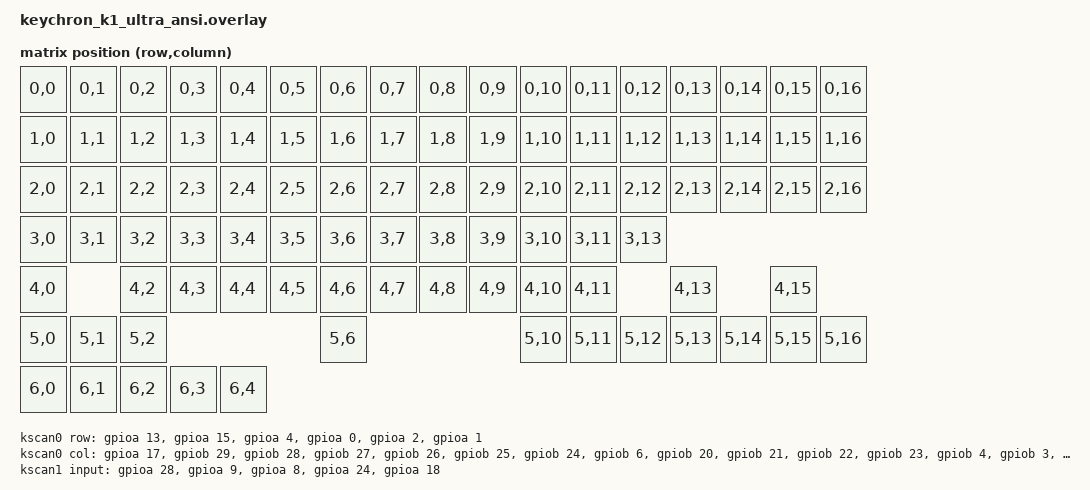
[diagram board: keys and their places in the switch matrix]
#include <dt-bindings/zmk/matrix_transform.h>
#include <dt-bindings/led/led.h>
#include <zephyr/dt-bindings/gpio/realtek-rtl87x2g-gpio.h>
#include "led_strip_k1_ultra.dtsi"

&gpioa {
    status = "okay";
};
&gpiob {
    status = "okay";
};
&usb {
    status = "okay";
};
// &timer2 {
//     status = "okay";
//     prescaler = <1>;
//     pwm2: pwm2 {
//         status = "disabled";// "okay";
//         pinctrl-0 = <&pwm2_default>;
//         pinctrl-names = "default";
//     };
// };
// &timer3 {
//     status = "okay";
//     prescaler = <1>;
//     pwm3: pwm3 {
//         status =  "disabled";//"okay";
//         pinctrl-0 = <&pwm3_default>;
//         pinctrl-names = "default";
//     };
// };

// &timer4 {
//     status = "okay";
//     prescaler = <1>;
//     pwm4: pwm4 {
//         // status =  "okay";
//         status =  "disabled";
//         pinctrl-0 = <&pwm4_default>;
//         pinctrl-1 = <&pwm4_sleep>;
//         pinctrl-names = "default","sleep";
//     };
// };
&timer2 {
    status = "okay";
    prescaler = <1>;
};
&timer3 {
    status = "okay";
    prescaler = <1>;
};
&timer8 {
    status = "okay";
};

&timer9 {
    status = "okay";
};

&corewdt {
    status = "okay";
	// status = "okay";
    initial-timeout-ms = <5000>;
};
&aonwdt {
    status = "disabled";
    // status = "disabled";
    initial-timeout-ms = <5000>;
};
/ {
	aliases {
        watchdog = &corewdt;
		// watchdog = &corewdt;
	};
    
};

&adc {
    pinctrl-0 = <&adc_default>;
    pinctrl-1 = <&adc_sleep>;
    pinctrl-names = "default","sleep";
    #address-cells = <1>;
    #size-cells = <0>;
    status = "okay";
    is-bypass-mode= <0x04>;
    channel@2 {
        reg = <2>;
        zephyr,gain = "ADC_GAIN_1";
        zephyr,reference = "ADC_REF_INTERNAL";
        zephyr,acquisition-time = <ADC_ACQ_TIME_DEFAULT>;
        zephyr,resolution = <12>;
    };
};	
/ {

    chosen {
        // zmk,kscan = &kscan;
        zmk,kscan = &kscan_comp;
        zmk,matrix-transform = &default_transform;
        zmk,battery = &vbatt;
        //zmk,backlight = &backlight;
    };
    kscan_comp: kscan {
        compatible = "zmk,kscan-composite";
        rows = <7>;
        columns = <17>;
        // Include the matrix driver
        matrix {
            kscan = <&kscan0>;
            // kscan = <&kscan>;
        };
        // Include the direct GPIO driver...
        // make sure direct init first!
        direct {
            kscan = <&kscan1>;
            row-offset = <6>; // ...and shift it to not overlap
        };


        // status = "disabled";
    };
    kscan0: kscan_matrix {
        compatible = "zmk,kscan-gpio-matrix";

        diode-direction = "row2col";
        debounce-scan-period-ms =<1>;
        debounce-press-ms =<0>;
        debounce-release-ms=<50>;
 
        row-gpios
            = <&gpioa 13 (GPIO_ACTIVE_HIGH |GPIO_PULL_UP )>   //r0 P1_5
            , <&gpioa 15 (GPIO_ACTIVE_HIGH |GPIO_PULL_UP)>    //r1 P1_7
            , <&gpioa  4 (GPIO_ACTIVE_HIGH |GPIO_PULL_UP)>    //r2 P0_4
            , <&gpioa  0 (GPIO_ACTIVE_HIGH |GPIO_PULL_UP)>    //r3 P0_0
            , <&gpioa  2 (GPIO_ACTIVE_HIGH |GPIO_PULL_UP)>    //r4 P0_2
            , <&gpioa  1 (GPIO_ACTIVE_HIGH |GPIO_PULL_UP)>    //r5 P0_1
            ;
        col-gpios
            =  
              <&gpioa 17  (GPIO_ACTIVE_HIGH|GPIO_PULL_DOWN)>  //c0 32K_XI
            , <&gpiob 29  (GPIO_ACTIVE_HIGH|GPIO_PULL_DOWN)>  //c1 P10_0
            , <&gpiob 28  (GPIO_ACTIVE_HIGH|GPIO_PULL_DOWN)>  //c2 P9_7
            , <&gpiob 27  (GPIO_ACTIVE_HIGH|GPIO_PULL_DOWN)>  //c3 P9_6
            , <&gpiob 26  (GPIO_ACTIVE_HIGH|GPIO_PULL_DOWN)>  //c4 P9_5
            , <&gpiob 25  (GPIO_ACTIVE_HIGH|GPIO_PULL_DOWN)>  //c5 P9_4
            , <&gpiob 24  (GPIO_ACTIVE_HIGH|GPIO_PULL_DOWN)>  //c6 P9_3
            , <&gpiob  6  (GPIO_ACTIVE_HIGH|GPIO_PULL_DOWN)>  //c7 P4_1
            , <&gpiob 20  (GPIO_ACTIVE_HIGH|GPIO_PULL_DOWN)>  //c8 P6_1
            , <&gpiob 21  (GPIO_ACTIVE_HIGH|GPIO_PULL_DOWN)>  //c9 P6_2
            , <&gpiob 22  (GPIO_ACTIVE_HIGH|GPIO_PULL_DOWN)>  //c10 P6_3
            , <&gpiob 23  (GPIO_ACTIVE_HIGH|GPIO_PULL_DOWN)>  //c11 P6_4

            , <&gpiob 4  (GPIO_ACTIVE_HIGH|GPIO_PULL_DOWN)>  //c12 P3_7   
            , <&gpiob 3  (GPIO_ACTIVE_HIGH|GPIO_PULL_DOWN)>  //c13 P3_6      
            , <&gpiob 2  (GPIO_ACTIVE_HIGH|GPIO_PULL_DOWN)>  //c14 P3_5    
            , <&gpiob 1  (GPIO_ACTIVE_HIGH|GPIO_PULL_DOWN)>  //c15 P3_4   
            , <&gpiob 0  (GPIO_ACTIVE_HIGH|GPIO_PULL_DOWN)>  //c16 P3_3
            ;
        pinctrl-0 = <&gpio_default>;
        pinctrl-1 = <&gpio_sleep>;
        pinctrl-names = "default","sleep";

        // status ="disabled";
    };
    kscan1:kscan_direct {
        compatible = "zmk,kscan-gpio-direct";
        input-gpios 
        = <&gpioa 28  (GPIO_ACTIVE_HIGH )>  //mac/win   //P2_7 
        , <&gpioa  9  (GPIO_ACTIVE_LOW )>  //bt      //p1_1
        , <&gpioa  8  (GPIO_ACTIVE_LOW )>  //24g        //p1_0
                 
        , <&gpioa 24  (GPIO_ACTIVE_LOW )>  //usb det   //P2_3        
        , <&gpioa 18  (GPIO_ACTIVE_LOW )>    //charging  //32k_xo
        ;
        // toggle-mode;
        debounce-scan-period-ms=<20>;
        debounce-release-ms=<20>;
        pinctrl-0 = <&gpio_direct_default>;
        pinctrl-1 = <&gpio_direct_sleep>;
        pinctrl-names = "default","sleep";
    };
    // mode_monitor: mode_monitor {
    //     compatible = "zmk,mode-monitor-pin";
    //     ble-gpios = <&gpioa 9 (GPIO_ACTIVE_HIGH )>;
    //     ppt-gpios = <&gpioa 8 (GPIO_ACTIVE_HIGH )>;
    //     detect-usb-gpios = <&gpioa 24 (GPIO_ACTIVE_HIGH )>;
    //     win2mac-gpios = <&gpioa 31 (GPIO_ACTIVE_HIGH )>;
    // };
    vbatt: vbatt {
        compatible = "zmk,battery-voltage-divider";
        io-channels = <&adc 2>;
        output-ohms = <220000>;
        full-ohms = <(1000000 + 220000)>;
    };


    led_caps: led_caps{
        compatible = "gpio-leds";
        led1 {
            gpios = <&gpioa 27 GPIO_ACTIVE_HIGH>;  //p2_6
        };
        
    };
    led_ble: led_ble{
        compatible = "gpio-leds";
        led2 {
            gpios = <&gpioa 31 GPIO_ACTIVE_HIGH>;  //bt p3_2
          };
    };
    
    led_ppt:led_ppt {
        compatible = "gpio-leds";
        led3 {
            gpios = <&gpioa 10 GPIO_ACTIVE_HIGH>;  //ppt p1_2 
        };

    };  
    led_red:led_red {
        compatible = "gpio-leds";
        led4 {
            gpios = <&gpioa 16 GPIO_ACTIVE_HIGH>;  //charge MICBIAS  
        };

    };


    gpio_ctrls {
        compatible = "gpio-leds";
        // red_led: led_0 {
        //     gpios = <&gpioa 25 GPIO_ACTIVE_HIGH>;  //charge p2_4   
        // };
        // win_led: led_1 {
        //     gpios = <&gpioa 27 GPIO_ACTIVE_HIGH>;  //winlock p2_6 
        // };

        usb_det: usb_det {
            gpios =<&gpioa 24 GPIO_ACTIVE_LOW>; //usb det   //P2_3
        };

    };
    // lcd_ctrls{
    //     compatible = "gpio-leds";
    //     status ="okay";
    //     power:pwr_ctrl{
    //         gpios= <&gpioa 9 GPIO_ACTIVE_HIGH>;  //p1_1
    //     };
    //     reset:res_ctrl{
    //         gpios= <&gpioa 10 GPIO_ACTIVE_LOW>;  //p1_2
    //     };
    // };


	ppt: ppt {           
		compatible = "zmk,ppt-node";
		enh-timers = <&timer8 &timer9>;
		status = "okay";
	};   

    default_transform: matrix_transform {
        compatible = "zmk,matrix-transform";
        rows = <7>;
        columns = <17>;
        map = <
            //esc        //f1        //f2       //f3          //f4       //f5       //f6        //f7        //f8          //f9        //f10       //f11       //f12      //mute          //del       //scrlk     //calc     
            RC(0,0)     RC(0,1)     RC(0,2)     RC(0,3)    RC(0,4)     RC(0,5)     RC(0,6)      RC(0,7)     RC(0,8)     RC(0,9)    RC(0,10)      RC(0,11)    RC(0,12)    RC(0,13)       RC(0,14)    RC(0,15)    RC(0,16)  
             //grave      //1        //2         //3       //4         //5         //6         //7         //8         //9         //0           //-          //+=       //back                                 //pgup                         
            RC(1,0)     RC(1,1)     RC(1,2)     RC(1,3)    RC(1,4)     RC(1,5)     RC(1,6)     RC(1,7)     RC(1,8)     RC(1,9)     RC(1,10)     RC(1,11)     RC(1,12)    RC(1,13)       RC(1,14)   RC(1,15)     RC(1,16)    
            RC(2,0)     RC(2,1)     RC(2,2)     RC(2,3)    RC(2,4)     RC(2,5)     RC(2,6)     RC(2,7)     RC(2,8)     RC(2,9)     RC(2,10)     RC(2,11)     RC(2,12)    RC(2,13)       RC(2,14)   RC(2,15)     RC(2,16)    
            //cap        //a         //s         //d        //f         //g         //h          //j        //k         //l         // ;         //' "       //'\'                                 
            RC(3,0)     RC(3,1)     RC(3,2)     RC(3,3)    RC(3,4)     RC(3,5)     RC(3,6)     RC(3,7)     RC(3,8)     RC(3,9)     RC(3,10)     RC(3,11)     RC(3,13)                    
             //lshit                 //z         //x         //c        //v         //b        //n         //m          //,<         //.>        // ?                     //rshit                   //up         
            RC(4,0)                 RC(4,2)     RC(4,3)    RC(4,4)     RC(4,5)     RC(4,6)     RC(4,7)     RC(4,8)     RC(4,9)     RC(4,10)     RC(4,11)                 RC(4,13)                   RC(4,15)      
            //lctrl     //win l      //alt l                                        //space                                         //alt r       //sys       //fn        //ctrl         //left       //down      //right                  
            RC(5,0)     RC(5,1)     RC(5,2)                                        RC(5,6)                                         RC(5, 10)    RC(5,11)      RC(5,12)    RC(5,13)       RC(5,14)     RC(5,15)     RC(5,16)                 
              //mac     //bt        //24g        //usb     //ch          
            RC(6,0)     RC(6,1)     RC(6,2)     RC(6,3)    RC(6,4)   
        >;
    };


    sensors: sensors {
        compatible = "zmk,keymap-sensors";
        status = "okay";
        sensors = <&aon_qdec>;
        triggers-per-rotation = <10>;
    };
 };

&kscan {
    pinctrl-0 = <&kscan_default>;
    pinctrl-1 = <&kscan_sleep>;
    pinctrl-names = "default", "sleep";
    row-size = <6>;
    col-size = <16>;
    debounce-time-us = <0>;
    scan-time-us =  <0>;
    release-time-us = <10000>;
    scan-debounce-cnt = <1>;
    status = "disabled";
    // status = "okay";
};

&pinctrl {
    adc_default: adc_default {
        group1 {
             psels = <RTL87X2G_PSEL(SW_MODE, P2_2, DIR_IN, DRV_LOW, PULL_NONE)>;
        };
    };

    adc_sleep: adc_sleep {
        group1 {
             psels = <RTL87X2G_PSEL(SW_MODE, P2_2, DIR_IN, DRV_LOW, PULL_DOWN)>;
        };
    };
    kscan_default: kscan_default {
        group1 {
            psels = 
            <RTL87X2G_PSEL(KEY_COL_0, P9_3, DIR_OUT, DRV_LOW, PULL_NONE)>,
            <RTL87X2G_PSEL(KEY_COL_1, P9_4, DIR_OUT, DRV_LOW, PULL_NONE)>,
			<RTL87X2G_PSEL(KEY_COL_2, P9_5, DIR_OUT, DRV_LOW, PULL_NONE)>,
			<RTL87X2G_PSEL(KEY_COL_3, P9_6, DIR_OUT, DRV_LOW, PULL_NONE)>,
			<RTL87X2G_PSEL(KEY_COL_4, P9_7, DIR_OUT, DRV_LOW, PULL_NONE)>,
			<RTL87X2G_PSEL(KEY_COL_5, P10_0, DIR_OUT, DRV_LOW, PULL_NONE)>,
			<RTL87X2G_PSEL(KEY_COL_6, P3_7, DIR_OUT, DRV_LOW, PULL_NONE)>,
			<RTL87X2G_PSEL(KEY_COL_7, P3_6, DIR_OUT, DRV_LOW, PULL_NONE)>,
			<RTL87X2G_PSEL(KEY_COL_8, P3_5, DIR_OUT, DRV_LOW, PULL_NONE)>,
			<RTL87X2G_PSEL(KEY_COL_9, P3_4, DIR_OUT, DRV_LOW, PULL_NONE)>,
			<RTL87X2G_PSEL(KEY_COL_10, P3_3, DIR_OUT, DRV_LOW, PULL_NONE)>,
			<RTL87X2G_PSEL(KEY_COL_11, P4_1, DIR_OUT, DRV_LOW, PULL_NONE)>,
			<RTL87X2G_PSEL(KEY_COL_12, P6_4, DIR_OUT, DRV_LOW, PULL_NONE)>,
			<RTL87X2G_PSEL(KEY_COL_13, P6_3, DIR_OUT, DRV_LOW, PULL_NONE)>,
			<RTL87X2G_PSEL(KEY_COL_14, P6_2, DIR_OUT, DRV_LOW, PULL_NONE)>,
			<RTL87X2G_PSEL(KEY_COL_15, P6_1, DIR_OUT, DRV_LOW, PULL_NONE)>;

        };
        group2 {
            psels =							
            <RTL87X2G_PSEL(KEY_ROW_0, P1_5, DIR_IN, DRV_LOW, PULL_UP)>,
            <RTL87X2G_PSEL(KEY_ROW_1, P1_7, DIR_IN, DRV_LOW, PULL_UP)>,
            <RTL87X2G_PSEL(KEY_ROW_2, P0_0, DIR_IN, DRV_LOW, PULL_UP)>,
            <RTL87X2G_PSEL(KEY_ROW_3, P0_1, DIR_IN, DRV_LOW, PULL_UP)>,			
            <RTL87X2G_PSEL(KEY_ROW_4, P0_2, DIR_IN, DRV_LOW, PULL_UP)>,
            <RTL87X2G_PSEL(KEY_ROW_5, P0_4, DIR_IN, DRV_LOW, PULL_UP)>;
 
            bias-pull-strong;
        };

	};
    kscan_sleep: kscan_sleep {
        group1 {
            psels =
            <RTL87X2G_PSEL(SW_MODE, P9_3, DIR_OUT, DRV_LOW, PULL_DOWN)>,
            <RTL87X2G_PSEL(SW_MODE, P9_4, DIR_OUT, DRV_LOW, PULL_DOWN)>,
            <RTL87X2G_PSEL(SW_MODE, P9_5, DIR_OUT, DRV_LOW, PULL_DOWN)>,
            <RTL87X2G_PSEL(SW_MODE, P9_6, DIR_OUT, DRV_LOW, PULL_DOWN)>,
            <RTL87X2G_PSEL(SW_MODE, P9_7, DIR_OUT, DRV_LOW, PULL_DOWN)>,
            <RTL87X2G_PSEL(SW_MODE, P10_0, DIR_OUT, DRV_LOW, PULL_DOWN)>,
            <RTL87X2G_PSEL(SW_MODE, P3_7, DIR_OUT, DRV_LOW, PULL_DOWN)>,
            <RTL87X2G_PSEL(SW_MODE, P3_6, DIR_OUT, DRV_LOW, PULL_DOWN)>,
            <RTL87X2G_PSEL(SW_MODE, P3_5, DIR_OUT, DRV_LOW, PULL_DOWN)>,
            <RTL87X2G_PSEL(SW_MODE, P3_4, DIR_OUT, DRV_LOW, PULL_DOWN)>,
            <RTL87X2G_PSEL(SW_MODE, P3_3, DIR_OUT, DRV_LOW, PULL_DOWN)>,
            <RTL87X2G_PSEL(SW_MODE, P4_1, DIR_OUT, DRV_LOW, PULL_DOWN)>,
            <RTL87X2G_PSEL(SW_MODE, P6_4, DIR_OUT, DRV_LOW, PULL_DOWN)>,
            <RTL87X2G_PSEL(SW_MODE, P6_3, DIR_OUT, DRV_LOW, PULL_DOWN)>,
            <RTL87X2G_PSEL(SW_MODE, P6_2, DIR_OUT, DRV_LOW, PULL_DOWN)>,
            <RTL87X2G_PSEL(SW_MODE, P6_1, DIR_OUT, DRV_LOW, PULL_DOWN)>;
  
        };
        group2 {
            psels =
            <RTL87X2G_PSEL(SW_MODE, P1_5, DIR_IN, DRV_HIGH, PULL_UP)>,
            <RTL87X2G_PSEL(SW_MODE, P1_7, DIR_IN, DRV_HIGH, PULL_UP)>,
            <RTL87X2G_PSEL(SW_MODE, P0_0, DIR_IN, DRV_HIGH, PULL_UP)>,
            <RTL87X2G_PSEL(SW_MODE, P0_1, DIR_IN, DRV_HIGH, PULL_UP)>,
            <RTL87X2G_PSEL(SW_MODE, P0_2, DIR_IN, DRV_HIGH, PULL_UP)>,
            <RTL87X2G_PSEL(SW_MODE, P0_4, DIR_IN, DRV_HIGH, PULL_UP)>;
        
            bias-pull-strong;
            wakeup-low;
        };
    };


    uart2_default: uart2_default {
        group1 {
            psels = <RTL87X2G_PSEL(UART2_TX, P3_0, DIR_OUT, DRV_HIGH, PULL_UP)>,
            <RTL87X2G_PSEL(UART2_RX, P3_1, DIR_IN, DRV_HIGH, PULL_UP)>;
        };
    };
    uart2_sleep: uart2_sleep {
        group1 {
            psels = <RTL87X2G_PSEL(SW_MODE, P3_0, DIR_IN, DRV_HIGH, PULL_UP)>,
            <RTL87X2G_PSEL(SW_MODE, P3_1, DIR_IN, DRV_HIGH, PULL_UP)>;
        };
    };
    gpio_default: gpio_default {
        group1 {
            psels = 
             <RTL87X2G_PSEL(DWGPIO, P1_5, DIR_OUT, DRV_HIGH, PULL_UP)>,
             <RTL87X2G_PSEL(DWGPIO, P1_7, DIR_OUT, DRV_HIGH, PULL_UP)>,
             <RTL87X2G_PSEL(DWGPIO, P0_4, DIR_OUT, DRV_HIGH, PULL_UP)>,
             <RTL87X2G_PSEL(DWGPIO, P0_0, DIR_OUT, DRV_HIGH, PULL_UP)>,
             <RTL87X2G_PSEL(DWGPIO, P0_2, DIR_OUT, DRV_HIGH, PULL_UP)>,
             <RTL87X2G_PSEL(DWGPIO, P0_1, DIR_OUT, DRV_HIGH, PULL_UP)>;
        };
        group2 {
            psels =
            <RTL87X2G_PSEL(DWGPIO, XI32K, DIR_IN, DRV_LOW, PULL_DOWN)>,
            <RTL87X2G_PSEL(DWGPIO, P10_0, DIR_IN, DRV_LOW, PULL_DOWN)>,
            <RTL87X2G_PSEL(DWGPIO, P9_7, DIR_IN, DRV_LOW, PULL_DOWN)>,
            <RTL87X2G_PSEL(DWGPIO, P9_6, DIR_IN, DRV_LOW, PULL_DOWN)>,
            <RTL87X2G_PSEL(DWGPIO, P9_5, DIR_IN, DRV_LOW, PULL_DOWN)>,
            <RTL87X2G_PSEL(DWGPIO, P9_4, DIR_IN, DRV_LOW, PULL_DOWN)>,
            <RTL87X2G_PSEL(DWGPIO, P9_3, DIR_IN, DRV_LOW, PULL_DOWN)>,
            <RTL87X2G_PSEL(DWGPIO, P4_1, DIR_IN, DRV_LOW, PULL_DOWN)>,
            <RTL87X2G_PSEL(DWGPIO, P6_1, DIR_IN, DRV_LOW, PULL_DOWN)>,

            <RTL87X2G_PSEL(DWGPIO, P6_2, DIR_IN, DRV_LOW, PULL_DOWN)>,
            <RTL87X2G_PSEL(DWGPIO, P6_3, DIR_IN, DRV_LOW, PULL_DOWN)>,
            <RTL87X2G_PSEL(DWGPIO, P6_4, DIR_IN, DRV_LOW, PULL_DOWN)>,
            <RTL87X2G_PSEL(DWGPIO, P3_7, DIR_IN, DRV_LOW, PULL_DOWN)>,
            <RTL87X2G_PSEL(DWGPIO, P3_6, DIR_IN, DRV_LOW, PULL_DOWN)>,
            <RTL87X2G_PSEL(DWGPIO, P3_5, DIR_IN, DRV_LOW, PULL_DOWN)>,
            <RTL87X2G_PSEL(DWGPIO, P3_4, DIR_IN, DRV_LOW, PULL_DOWN)>, 
            <RTL87X2G_PSEL(DWGPIO, P3_3, DIR_IN, DRV_LOW, PULL_DOWN)>;

            // <RTL87X2G_PSEL(DWGPIO, P3_2, DIR_IN, DRV_LOW, PULL_DOWN)>;
            // <RTL87X2G_PSEL(DWGPIO, XI32K, DIR_IN, DRV_LOW, PULL_DOWN)>,
            // <RTL87X2G_PSEL(DWGPIO, MICBIAS, DIR_IN, DRV_LOW, PULL_DOWN)>;
        };

    };
    gpio_sleep: gpio_sleep {
        group1 {
            psels = 
             <RTL87X2G_PSEL(SW_MODE, P1_5, DIR_OUT, DRV_HIGH, PULL_UP)>,
             <RTL87X2G_PSEL(SW_MODE, P1_7, DIR_OUT, DRV_HIGH, PULL_UP)>,
             <RTL87X2G_PSEL(SW_MODE, P0_4, DIR_OUT, DRV_HIGH, PULL_UP)>,
             <RTL87X2G_PSEL(SW_MODE, P0_0, DIR_OUT, DRV_HIGH, PULL_UP)>,
             <RTL87X2G_PSEL(SW_MODE, P0_2, DIR_OUT, DRV_HIGH, PULL_UP)>,
             <RTL87X2G_PSEL(SW_MODE, P0_1, DIR_OUT, DRV_HIGH, PULL_UP)>;
        };
        group2 {
            psels =
             <RTL87X2G_PSEL(SW_MODE, XI32K, DIR_IN, DRV_LOW, PULL_DOWN)>, 
             <RTL87X2G_PSEL(SW_MODE, P10_0, DIR_IN, DRV_LOW, PULL_DOWN)>,
             <RTL87X2G_PSEL(SW_MODE, P9_7, DIR_IN, DRV_LOW, PULL_DOWN)>,
             <RTL87X2G_PSEL(SW_MODE, P9_6, DIR_IN, DRV_LOW, PULL_DOWN)>,
             <RTL87X2G_PSEL(SW_MODE, P9_5, DIR_IN, DRV_LOW, PULL_DOWN)>,
             <RTL87X2G_PSEL(SW_MODE, P9_4, DIR_IN, DRV_LOW, PULL_DOWN)>, 
             <RTL87X2G_PSEL(SW_MODE, P9_3, DIR_IN, DRV_LOW, PULL_DOWN)>,
             <RTL87X2G_PSEL(SW_MODE, P4_1, DIR_IN, DRV_LOW, PULL_DOWN)>,
             <RTL87X2G_PSEL(SW_MODE, P6_1, DIR_IN, DRV_LOW, PULL_DOWN)>,

             <RTL87X2G_PSEL(SW_MODE, P6_2, DIR_IN, DRV_LOW, PULL_DOWN)>,
             <RTL87X2G_PSEL(SW_MODE, P6_3, DIR_IN, DRV_LOW, PULL_DOWN)>,
             <RTL87X2G_PSEL(SW_MODE, P6_4, DIR_IN, DRV_LOW, PULL_DOWN)>,
             <RTL87X2G_PSEL(SW_MODE, P3_7, DIR_IN, DRV_LOW, PULL_DOWN)>,
             <RTL87X2G_PSEL(SW_MODE, P3_6, DIR_IN, DRV_LOW, PULL_DOWN)>,
             <RTL87X2G_PSEL(SW_MODE, P3_5, DIR_IN, DRV_LOW, PULL_DOWN)>,
             <RTL87X2G_PSEL(SW_MODE, P3_4, DIR_IN, DRV_LOW, PULL_DOWN)>, 
             <RTL87X2G_PSEL(SW_MODE, P3_3, DIR_IN, DRV_LOW, PULL_DOWN)>;

            //  <RTL87X2G_PSEL(SW_MODE, P3_2, DIR_IN, DRV_LOW, PULL_DOWN)>;
            //  <RTL87X2G_PSEL(SW_MODE, XI32K, DIR_IN, DRV_LOW, PULL_DOWN)>, 
            //  <RTL87X2G_PSEL(SW_MODE, MICBIAS, DIR_IN, DRV_LOW, PULL_DOWN)>; 
             wakeup-high;
        };

    };
    qdec_default: qdec_default {
        group1 {
            psels = <RTL87X2G_PSEL(QDPH0_IN_P9_0_P9_1, P9_0, DIR_IN, DRV_LOW, PULL_UP)>,
             <RTL87X2G_PSEL(QDPH0_IN_P9_0_P9_1, P9_1, DIR_IN, DRV_LOW, PULL_UP)>;
             wakeup-low;
        };
    };
    qdec_sleep: qdec_sleep {
        group1 {
            psels = <RTL87X2G_PSEL(SW_MODE, P9_0, DIR_IN, DRV_HIGH, PULL_NONE)>,
             <RTL87X2G_PSEL(SW_MODE, P9_1, DIR_IN, DRV_HIGH, PULL_NONE)>;

        };
    };
    gpio_direct_default:gpio_direct_default{
        group1 {
            psels = 
             <RTL87X2G_PSEL(DWGPIO, P2_7, DIR_IN, DRV_HIGH, PULL_NONE)>,
            <RTL87X2G_PSEL(DWGPIO, P1_1, DIR_IN, DRV_HIGH, PULL_NONE)>,
            <RTL87X2G_PSEL(DWGPIO, P1_0, DIR_IN, DRV_HIGH, PULL_NONE)>,                        
            <RTL87X2G_PSEL(DWGPIO, P2_3, DIR_IN, DRV_HIGH, PULL_NONE)>,
            <RTL87X2G_PSEL(DWGPIO, XO32K, DIR_IN, DRV_HIGH, PULL_UP)>;//charge pin leak current ,has to pull up！
        };
    };
    gpio_direct_sleep:gpio_direct_sleep{
        group1 {
            psels = 
             <RTL87X2G_PSEL(SW_MODE, P2_7, DIR_IN, DRV_HIGH, PULL_NONE)>,
            <RTL87X2G_PSEL(SW_MODE, P1_1, DIR_IN, DRV_HIGH, PULL_NONE)>,
            <RTL87X2G_PSEL(SW_MODE, P1_0, DIR_IN, DRV_HIGH, PULL_NONE)>,                        
            <RTL87X2G_PSEL(SW_MODE, P2_3, DIR_IN, DRV_HIGH, PULL_NONE)>,
            <RTL87X2G_PSEL(SW_MODE, XO32K, DIR_IN, DRV_HIGH, PULL_UP)>;//charge pin leak current ,has to pull up！
            //  bias-pull-strong;
        };
    };

    i2c_default: i2c_default {
        group1 {
            psels = 
            <RTL87X2G_PSEL(I2C0_CLK, P2_7, DIR_OUT, DRV_HIGH, PULL_UP)>,
            <RTL87X2G_PSEL(I2C0_DAT, P2_6, DIR_OUT, DRV_HIGH, PULL_UP)>;
        };
    };
    i2c_sleep: i2c_sleep {
        group1 {
            psels = 
            <RTL87X2G_PSEL(SW_MODE, P2_6, DIR_IN, DRV_HIGH, PULL_NONE)>,
            <RTL87X2G_PSEL(SW_MODE, P2_7, DIR_IN, DRV_HIGH, PULL_NONE)>;
        };
    };
};

&aon_qdec {
    status = "okay";
    // status = "disabled";
    pinctrl-0 = <&qdec_default>;
    pinctrl-1 = <&qdec_sleep>;
    pinctrl-names = "default","sleep";
    counts-per-revolution =<4>;
};

// &uart2 {
// 	status = "disabled";
// };

// &i2c0 {
//     status = "okay";
//     clock-frequency = < 400000 >;
//     pinctrl-0 = <&i2c_default>;
//     pinctrl-1 = <&i2c_sleep>;
//     pinctrl-names = "default","sleep";
// };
